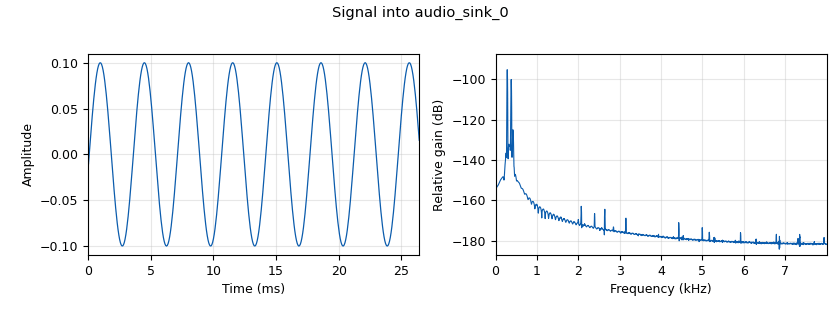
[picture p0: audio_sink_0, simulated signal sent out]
options:
  parameters:
    generate_options: qt_gui
    id: expt_1
    output_language: python
    title: birthday
  states: {}

blocks:
- name: samp_rate
  id: variable
  parameters:
    value: '16000'
  states: {}
- name: audio_sink_0
  id: audio_sink
  parameters:
    device_name: hw:0,0
    samp_rate: samp_rate
  states: {}
- name: blocks_repeat_0
  id: blocks_repeat
  parameters:
    interp: samp_rate
    type: float
  states: {}
- name: blocks_vco_f_0
  id: blocks_vco_f
  parameters:
    amplitude: '0.1'
    samp_rate: samp_rate
    sensitivity: '6.8'
  states: {}
- name: blocks_vector_source_x_0
  id: blocks_vector_source_x
  parameters:
    repeat: 'True'
    type: float
    vector: (262, 262, 294, 262, 349, 330, 262, 262, 294, 262, 392, 349, 262, 262, 440, 392, 349, 329, 277, 466, 466, 440, 349, 392, 349)
  states: {}

connections:
- [blocks_repeat_0, '0', blocks_vco_f_0, '0']
- [blocks_vco_f_0, '0', audio_sink_0, '0']
- [blocks_vector_source_x_0, '0', blocks_repeat_0, '0']

metadata:
  file_format: 1
  grc_version: 3.10.3.0
